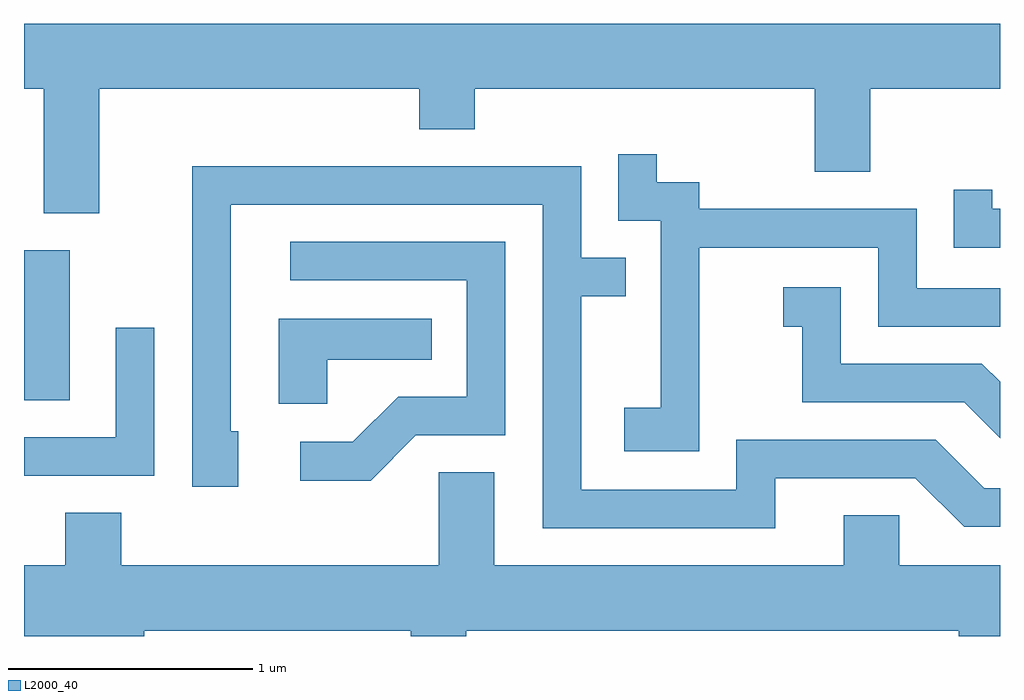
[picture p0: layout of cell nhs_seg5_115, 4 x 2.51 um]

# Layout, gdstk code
import gdstk
lib = gdstk.Library(unit=1e-6, precision=1e-09)
def R(c, l, rs):  # rectangles x0, y0, x1, y1
    for r in rs: c.add(gdstk.rectangle(r[:2], r[2:], *l))
def P(c, l, *ps):  # polygons
    for p in ps: c.add(gdstk.Polygon(p, *l))
L2000_40 = (2000, 40)

nhs_seg5_115 = lib.new_cell('nhs_seg5_115')
R(nhs_seg5_115, L2000_40, [(187.611,1491.041,187.799,1491.654)])
P(nhs_seg5_115, L2000_40, [(187.919,1492.316),(189.231,1492.316),(189.231,1492.151),(189.459,1492.151),(189.459,1492.316),(190.851,1492.316),(190.851,1491.976),(191.079,1491.976),(191.079,1492.316),(191.611,1492.316),(191.611,1492.584),(187.611,1492.584),(187.611,1492.316),(187.691,1492.316),(187.691,1491.806),(187.919,1491.806)],
  [(190.379,1491.666),(191.111,1491.666),(191.111,1491.341),(191.611,1491.341),(191.611,1491.499),(191.269,1491.499),(191.269,1491.824),(190.379,1491.824),(190.379,1491.934),(190.204,1491.934),(190.204,1492.048),(190.046,1492.048),(190.046,1491.776),(190.221,1491.776),(190.221,1491.009),(190.071,1491.009),(190.071,1490.831),(190.379,1490.831)],
  [(190.689,1490.721),(191.264,1490.721),(191.464,1490.521),(191.611,1490.521),(191.611,1490.679),(191.547,1490.679),(191.347,1490.879),(190.531,1490.879),(190.531,1490.674),(189.894,1490.674),(189.894,1491.466),(190.078,1491.466),(190.078,1491.624),(189.894,1491.624),(189.894,1491.999),(188.301,1491.999),(188.301,1490.686),(188.489,1490.686),(188.489,1490.914),(188.459,1490.914),(188.459,1491.841),(189.736,1491.841),(189.736,1490.516),(190.689,1490.516)],
  [(191.611,1491.824),(191.579,1491.824),(191.579,1491.903),(191.421,1491.903),(191.421,1491.666),(191.611,1491.666)],
  [(189.217,1490.896),(189.584,1490.896),(189.584,1491.689),(188.703,1491.689),(188.703,1491.531),(189.426,1491.531),(189.426,1491.054),(189.144,1491.054),(188.959,1490.869),(188.743,1490.869),(188.743,1490.711),(189.032,1490.711)],
  [(191.611,1491.115),(191.537,1491.189),(190.959,1491.189),(190.959,1491.504),(190.723,1491.504),(190.723,1491.341),(190.801,1491.341),(190.801,1491.031),(191.464,1491.031),(191.611,1490.884)],
  [(188.854,1491.206),(189.283,1491.206),(189.283,1491.374),(188.656,1491.374),(188.656,1491.026),(188.854,1491.026)],
  [(188.144,1491.338),(187.986,1491.338),(187.986,1490.889),(187.611,1490.889),(187.611,1490.731),(188.144,1490.731)],
  [(188.104,1490.096),(189.196,1490.096),(189.196,1490.072),(189.424,1490.072),(189.424,1490.096),(191.441,1490.096),(191.441,1490.072),(191.611,1490.072),(191.611,1490.364),(191.199,1490.364),(191.199,1490.569),(190.971,1490.569),(190.971,1490.364),(189.539,1490.364),(189.539,1490.744),(189.311,1490.744),(189.311,1490.364),(188.009,1490.364),(188.009,1490.579),(187.781,1490.579),(187.781,1490.364),(187.611,1490.364),(187.611,1490.072),(188.104,1490.072)])

lib.write_gds('nhs_seg5_115.gds')
